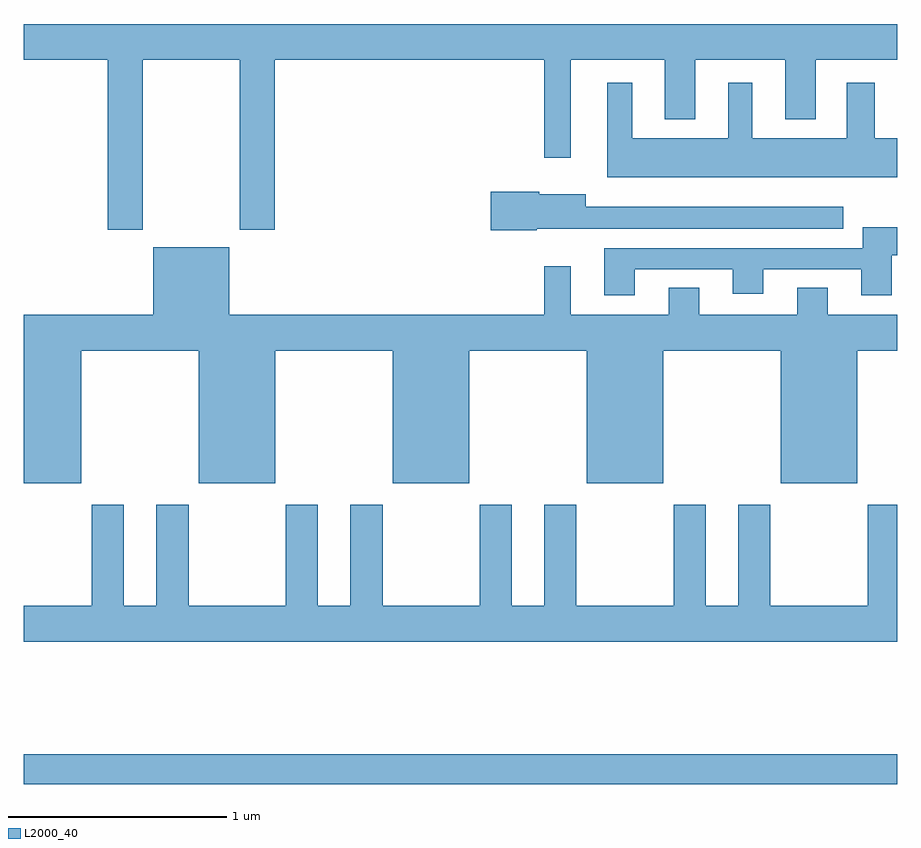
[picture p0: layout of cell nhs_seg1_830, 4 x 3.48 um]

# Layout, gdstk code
import gdstk
lib = gdstk.Library(unit=1e-6, precision=1e-09)
def R(c, l, rs):  # rectangles x0, y0, x1, y1
    for r in rs: c.add(gdstk.rectangle(r[:2], r[2:], *l))
def P(c, l, *ps):  # polygons
    for p in ps: c.add(gdstk.Polygon(p, *l))
L2000_40 = (2000, 40)

nhs_seg1_830 = lib.new_cell('nhs_seg1_830')
R(nhs_seg1_830, L2000_40, [(157,500.464,161,500.6)])
P(nhs_seg1_830, L2000_40, [(157.545,503.78),(157.99,503.78),(157.99,503.001),(158.15,503.001),(158.15,503.78),(159.384,503.78),(159.384,503.331),(159.505,503.331),(159.505,503.78),(159.935,503.78),(159.935,503.507),(160.075,503.507),(160.075,503.78),(160.487,503.78),(160.487,503.507),(160.627,503.507),(160.627,503.78),(161,503.78),(161,503.944),(157,503.944),(157,503.78),(157.385,503.78),(157.385,503.001),(157.545,503.001)],
  [(161,503.422),(160.897,503.422),(160.897,503.674),(160.769,503.674),(160.769,503.422),(160.336,503.422),(160.336,503.674),(160.226,503.674),(160.226,503.422),(159.787,503.422),(159.787,503.674),(159.671,503.674),(159.671,503.243),(161,503.243)],
  [(159.35,503.006),(160.753,503.006),(160.753,503.107),(159.574,503.107),(159.574,503.164),(159.36,503.164),(159.36,503.177),(159.138,503.177),(159.138,502.999),(159.35,502.999)],
  [(159.799,502.821),(160.247,502.821),(160.247,502.709),(160.387,502.709),(160.387,502.821),(160.835,502.821),(160.835,502.701),(160.975,502.701),(160.975,502.886),(161,502.886),(161,503.014),(160.841,503.014),(160.841,502.917),(159.659,502.917),(159.659,502.701),(159.799,502.701)],
  [(157.264,502.448),(157.802,502.448),(157.802,501.842),(158.152,501.842),(158.152,502.448),(158.69,502.448),(158.69,501.842),(159.04,501.842),(159.04,502.448),(159.578,502.448),(159.578,501.842),(159.928,501.842),(159.928,502.448),(160.466,502.448),(160.466,501.842),(160.816,501.842),(160.816,502.448),(161,502.448),(161,502.612),(160.681,502.612),(160.681,502.736),(160.541,502.736),(160.541,502.612),(160.093,502.612),(160.093,502.736),(159.953,502.736),(159.953,502.612),(159.505,502.612),(159.505,502.834),(159.384,502.834),(159.384,502.612),(157.942,502.612),(157.942,502.921),(157.592,502.921),(157.592,502.612),(157,502.612),(157,501.842),(157.264,501.842)],
  [(161,501.742),(160.864,501.742),(160.864,501.28),(160.419,501.28),(160.419,501.742),(160.271,501.742),(160.271,501.28),(160.123,501.28),(160.123,501.742),(159.976,501.742),(159.976,501.28),(159.531,501.28),(159.531,501.742),(159.383,501.742),(159.383,501.28),(159.235,501.28),(159.235,501.742),(159.088,501.742),(159.088,501.28),(158.643,501.28),(158.643,501.742),(158.495,501.742),(158.495,501.28),(158.347,501.28),(158.347,501.742),(158.2,501.742),(158.2,501.28),(157.755,501.28),(157.755,501.742),(157.607,501.742),(157.607,501.28),(157.459,501.28),(157.459,501.742),(157.312,501.742),(157.312,501.28),(157,501.28),(157,501.116),(161,501.116)])

lib.write_gds('nhs_seg1_830.gds')
